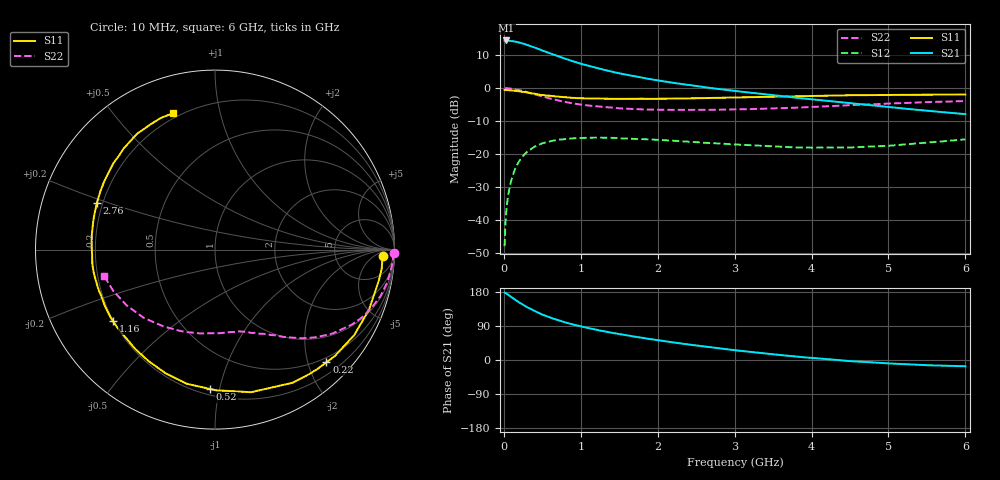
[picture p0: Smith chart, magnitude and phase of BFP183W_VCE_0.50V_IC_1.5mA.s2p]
! Infineon Technologies  Discrete & RF Semiconductors
! BFP183W
! VCE = 0.50V,  IC =  1.5 mA
! Common Emitter S-Parameters:  Jan 2016
# GHz  S  MA  R  50
!  f  S11  S21  S12  S22
! GHz  MAG  ANG  MAG  ANG  MAG  ANG  MAG  ANG
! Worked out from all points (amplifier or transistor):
!   210 points, 10 MHz to 6 GHz, reference 50 ohm
!   highest |S21| = 14.4 dB at 30 MHz (marker M1)
!   |S21| within 3 dB of that: start of sweep to 496.5 MHz
!   unconditionally stable (mu >= 1): 2.317 GHz to end of sweep
!   at 185 MHz: K = 0.09, MSG = 18.3 dB, |S12| = -22.8 dB
!   at 1.52 GHz: K = 0.66, MSG = 9.8 dB, |S12| = -15.3 dB
!   at 6 GHz: K = 1.45, MAG = -0.1 dB, |S12| = -15.6 dB
!   S11 on the Smith chart (normalised r, x): 10 MHz: 22, -13; 220 MHz: 0.41, -2.34; 520 MHz: 0.24, -0.94; 1.16 GHz: 0.20, -0.30; 2.76 GHz: 0.18, +0.18; 6 GHz: 0.18, +0.73
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0.01  0.9343 -2.2  5.214 178.0  0.004 89.9  0.9959 -1.1
0.02  0.9343 -4.2  5.256 177.3  0.0085 84.4  0.9925 -2.1
0.03  0.9347 -6.6  5.261 175.9  0.0129 85.4  0.9931 -3.2
0.06  0.9249 -12.7  5.224 171.5  0.0251 81.3  0.9867 -6.4
0.1  0.9212 -21.2  5.171 165.7  0.041 77.4  0.9776 -10.6
0.15  0.9103 -31.5  5.07 158.5  0.0607 71.0  0.9578 -15.7
0.22  0.883 -45.3  4.825 149.5  0.0842 62.8  0.9187 -22.2
0.3  0.8586 -59.8  4.508 139.6  0.1075 54.7  0.8696 -28.7
0.4  0.8195 -75.8  4.112 129.1  0.1292 46.0  0.804 -35.6
0.52  0.7771 -92.0  3.636 118.4  0.1473 37.5  0.7348 -41.8
0.6  0.7639 -101.8  3.355 112.0  0.1559 32.5  0.6929 -45.5
0.78  0.7257 -118.9  2.827 100.4  0.1677 24.1  0.6209 -51.6
0.9  0.71 -128.7  2.542 93.6  0.1726 19.5  0.5839 -54.9
1.02  0.6982 -136.6  2.3 87.8  0.175 15.6  0.5572 -58.1
1.16  0.6938 -145.1  2.078 81.6  0.1769 11.6  0.534 -61.4
1.6  0.6866 -165.9  1.585 64.8  0.1719 3.3  0.4853 -70.4
2.02  0.6871 179.1  1.294 51.7  0.1634 -1.6  0.4681 -78.9
2.76  0.7071 158.4  0.977 31.8  0.145 -5.1  0.468 -94.8
3.1  0.7208 150.3  0.877 23.8  0.1376 -4.8  0.476 -102.6
4.1  0.7612 130.6  0.657 4.0  0.1247 3.7  0.5208 -126.7
5.1  0.7861 116.2  0.502 -9.9  0.136 15.1  0.5862 -149.7
6  0.7954 107.0  0.402 -16.6  0.1665 20.4  0.6349 -166.6
